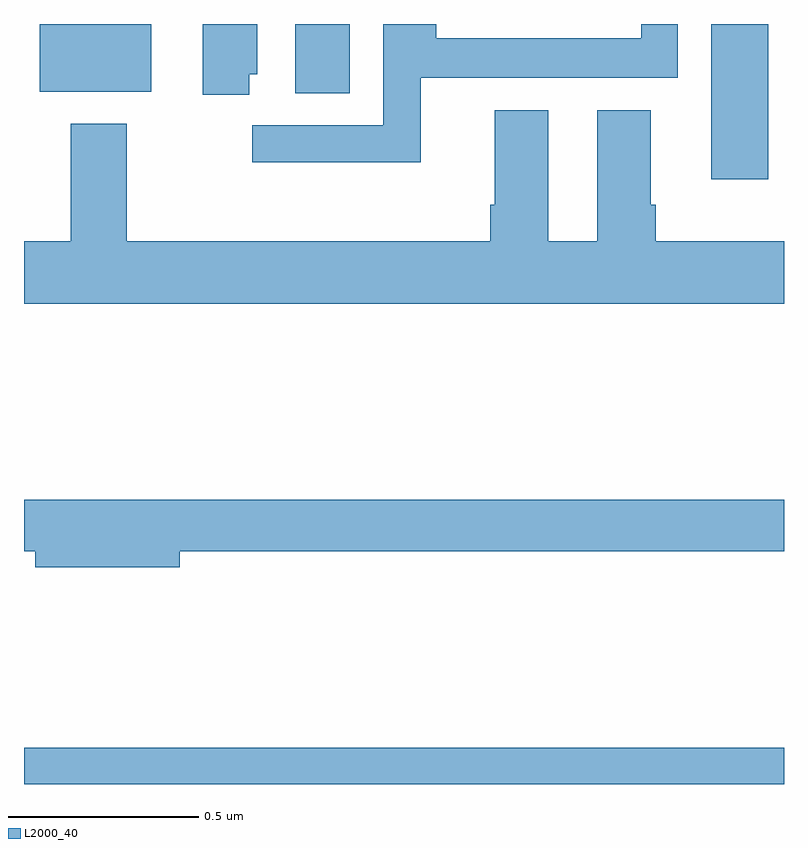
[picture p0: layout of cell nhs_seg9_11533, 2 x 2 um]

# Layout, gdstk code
import gdstk
lib = gdstk.Library(unit=1e-6, precision=1e-09)
def R(c, l, rs):  # rectangles x0, y0, x1, y1
    for r in rs: c.add(gdstk.rectangle(r[:2], r[2:], *l))
def P(c, l, *ps):  # polygons
    for p in ps: c.add(gdstk.Polygon(p, *l))
L2000_40 = (2000, 40)

nhs_seg9_11533 = lib.new_cell('nhs_seg9_11533')
R(nhs_seg9_11533, L2000_40, [(257,1184.5,259,1184.596), (258.809,1186.092,258.959,1186.5), (257.714,1186.318,257.857,1186.5), (257.041,1186.322,257.335,1186.5)])
P(nhs_seg9_11533, L2000_40, [(257.593,1186.368),(257.614,1186.368),(257.614,1186.5),(257.471,1186.5),(257.471,1186.314),(257.593,1186.314)],
  [(258.044,1186.358),(258.72,1186.358),(258.72,1186.5),(258.624,1186.5),(258.624,1186.462),(258.085,1186.462),(258.085,1186.5),(257.945,1186.5),(257.945,1186.233),(257.601,1186.233),(257.601,1186.136),(258.044,1186.136)],
  [(259,1185.928),(258.662,1185.928),(258.662,1186.024),(258.649,1186.024),(258.649,1186.273),(258.509,1186.273),(258.509,1185.928),(258.379,1185.928),(258.379,1186.273),(258.239,1186.273),(258.239,1186.024),(258.227,1186.024),(258.227,1185.928),(257.271,1185.928),(257.271,1186.237),(257.123,1186.237),(257.123,1185.928),(257,1185.928),(257,1185.764),(259,1185.764)],
  [(257.41,1185.112),(259,1185.112),(259,1185.248),(257,1185.248),(257,1185.112),(257.03,1185.112),(257.03,1185.07),(257.41,1185.07)])

lib.write_gds('nhs_seg9_11533.gds')
